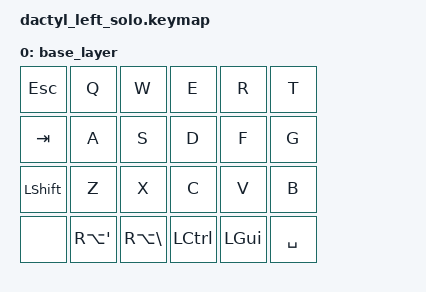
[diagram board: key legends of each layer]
#include <behaviors.dtsi>
#include <dt-bindings/zmk/keys.h>

/* Bring-up keymap: left half alone over USB, base layer of keymap v1.0 only. */
/ {
    keymap {
        compatible = "zmk,keymap";

        base_layer {
            bindings = <
                &kp ESC   &kp Q      &kp W      &kp E      &kp R      &kp T
                &kp TAB   &kp A      &kp S      &kp D      &kp F      &kp G
                &kp LSHFT &kp Z      &kp X      &kp C      &kp V      &kp B
                &none     &kp RA(SQT) &kp RA(BSLH) &kp LCTRL &kp LGUI   &kp SPACE
            >;
        };
    };
};
